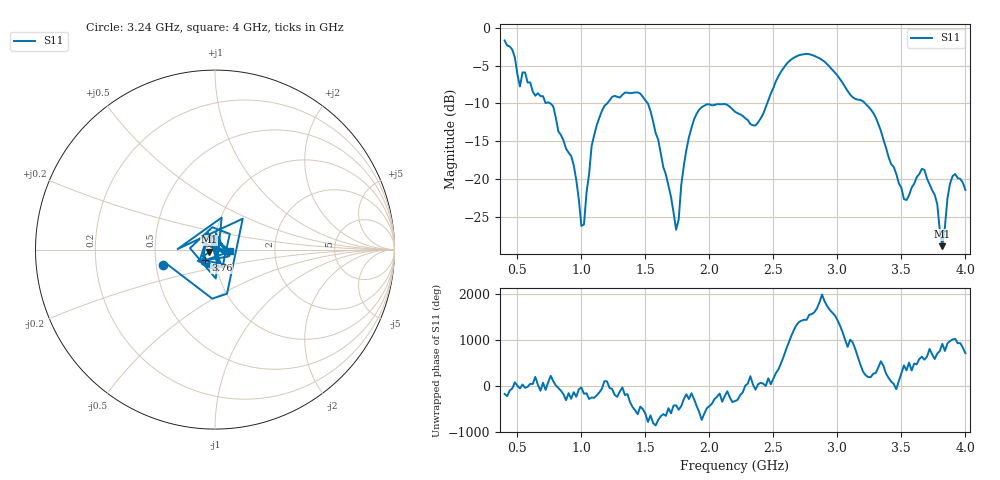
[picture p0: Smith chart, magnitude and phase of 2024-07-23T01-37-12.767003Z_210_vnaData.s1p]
!Created with skrf (http://scikit-rf.org).
# Hz S RI R 50.0
!freq ReS11 ImS11
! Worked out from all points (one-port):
!   181 points, 400 MHz to 4 GHz, reference 50 ohm
!   lowest |S11| = -28.9 dB at 3.82 GHz (marker M1), VSWR 1.07, Z = 46.7 - j1.11 ohm
!   |S11| at or under -10 dB: 758.3 MHz to 1.201 GHz (442.5 MHz wide, 45.2 % of centre); 1.52 GHz to 2.451 GHz (931.2 MHz wide, 46.9 % of centre); 3.217 GHz to end of sweep
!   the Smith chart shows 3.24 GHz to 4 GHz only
!   S11 on the Smith chart (normalised r, x): 3.24 GHz: 0.54, -0.10; 3.76 GHz: 0.89, -0.11; 4 GHz: 1.18, -0.02
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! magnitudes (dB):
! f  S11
! 400 MHz  -1.7
! 520 MHz  -7.8
! 560 MHz  -5.9
! 780 MHz  -10.4
! 860 MHz  -14.9
! 940 MHz  -18.2
! 1 GHz  -26.2
! 1.02 GHz  -26.0
! 1.08 GHz  -15.6
! 1.12 GHz  -12.9
! 1.3 GHz  -9.2
! 1.52 GHz  -10.0
! 1.74 GHz  -26.7
! 1.76 GHz  -25.3
! 1.82 GHz  -16.1
! 1.9 GHz  -11.4
! 2.2 GHz  -11.1
! 2.36 GHz  -12.9
! 2.66 GHz  -3.9
! 2.88 GHz  -4.2
! 3.1 GHz  -8.8
! 3.24 GHz  -10.4
! 3.56 GHz  -22.1
! 3.66 GHz  -18.6
! 3.76 GHz  -22.1
! 3.82 GHz  -28.9
! 3.9 GHz  -19.6
! 4 GHz  -21.4
